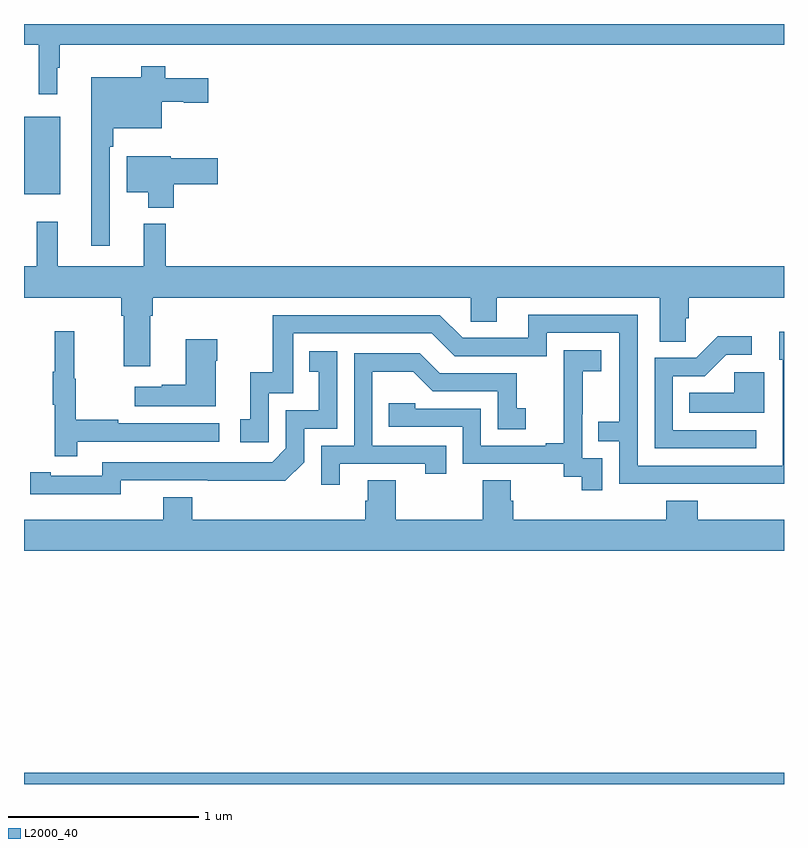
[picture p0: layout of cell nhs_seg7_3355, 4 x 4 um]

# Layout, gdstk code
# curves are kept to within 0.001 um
import gdstk
lib = gdstk.Library(unit=1e-6, precision=1e-09)
def R(c, l, rs):  # rectangles x0, y0, x1, y1
    for r in rs: c.add(gdstk.rectangle(r[:2], r[2:], *l))
def P(c, l, *ps):  # polygons
    for p in ps: c.add(gdstk.Polygon(p, *l))
L2000_40 = (2000, 40)

nhs_seg7_3355 = lib.new_cell('nhs_seg7_3355')
R(nhs_seg7_3355, L2000_40, [(323,1054,327,1054.06), (323,1057.103,323.191,1057.513)])
P(nhs_seg7_3355, L2000_40, [(323.176,1057.769),(323.188,1057.769),(323.188,1057.892),(327,1057.892),(327,1058),(323,1058),(323,1057.892),(323.078,1057.892),(323.078,1057.629),(323.176,1057.629)],
  [(323.451,1057.355),(323.471,1057.355),(323.471,1057.451),(323.725,1057.451),(323.725,1057.592),(323.84,1057.592),(323.84,1057.585),(323.971,1057.585),(323.971,1057.714),(323.744,1057.714),(323.744,1057.777),(323.616,1057.777),(323.616,1057.72),(323.354,1057.72),(323.354,1056.834),(323.451,1056.834)],
  [(323.789,1057.156),(324.019,1057.156),(324.019,1057.293),(323.772,1057.293),(323.772,1057.303),(323.54,1057.303),(323.54,1057.115),(323.654,1057.115),(323.654,1057.034),(323.789,1057.034)],
  [(323.665,1056.464),(323.678,1056.464),(323.678,1056.56),(325.35,1056.56),(325.35,1056.433),(325.489,1056.433),(325.489,1056.56),(326.345,1056.56),(326.345,1056.328),(326.484,1056.328),(326.484,1056.451),(326.498,1056.451),(326.498,1056.56),(327,1056.56),(327,1056.724),(323.747,1056.724),(323.747,1056.949),(323.63,1056.949),(323.63,1056.724),(323.177,1056.724),(323.177,1056.958),(323.067,1056.958),(323.067,1056.724),(323,1056.724),(323,1056.56),(323.513,1056.56),(323.513,1056.464),(323.525,1056.464),(323.525,1056.198),(323.665,1056.198)],
  [(327,1056.379),(326.975,1056.379),(326.975,1056.234),(326.994,1056.234),(326.993,1055.676),(326.229,1055.676),(326.229,1056.471),(325.655,1056.471),(325.655,1056.348),(325.308,1056.348),(325.188,1056.468),(324.309,1056.468),(324.309,1056.166),(324.191,1056.166),(324.191,1055.919),(324.138,1055.919),(324.138,1055.799),(324.288,1055.799),(324.288,1056.057),(324.417,1056.057),(324.417,1056.372),(325.146,1056.372),(325.266,1056.252),(325.752,1056.252),(325.752,1056.375),(326.133,1056.375),(326.133,1055.906),(326.023,1055.906),(326.023,1055.805),(326.133,1055.805),(326.133,1055.58),(327,1055.579)],
  [(323.279,1055.802),(324.028,1055.802),(324.028,1055.898),(323.495,1055.898),(323.495,1055.918),(323.272,1055.918),(323.272,1056.132),(323.264,1056.132),(323.264,1056.382),(323.162,1056.382),(323.162,1056.169),(323.151,1056.169),(323.151,1055.995),(323.162,1055.995),(323.162,1055.724),(323.279,1055.724)],
  [(326.854,1055.862),(326.415,1055.862),(326.415,1056.147),(326.584,1056.147),(326.695,1056.258),(326.83,1056.258),(326.83,1056.356),(326.651,1056.356),(326.538,1056.243),(326.319,1056.243),(326.319,1055.766),(326.854,1055.766)],
  [(324.01,1056.227),(324.018,1056.227),(324.018,1056.34),(323.852,1056.34),(323.852,1056.101),(323.726,1056.101),(323.726,1056.091),(323.583,1056.091),(323.583,1055.987),(324.01,1055.987)],
  [(326.043,1055.715),(325.938,1055.715),(325.938,1055.945),(325.94,1055.945),(325.94,1056.173),(326.038,1056.173),(326.038,1056.283),(325.84,1056.283),(325.84,1056.077),(325.841,1056.077),(325.841,1055.794),(325.745,1055.794),(325.745,1055.781),(325.404,1055.781),(325.404,1055.976),(325.059,1055.976),(325.059,1056.003),(324.919,1056.003),(324.919,1055.88),(325.308,1055.88),(325.308,1055.685),(325.842,1055.685),(325.842,1055.617),(325.935,1055.617),(325.935,1055.547),(326.043,1055.547)],
  [(323.508,1055.598),(324.376,1055.597),(324.474,1055.694),(324.474,1055.871),(324.648,1055.871),(324.648,1056.277),(324.502,1056.277),(324.502,1056.171),(324.551,1056.171),(324.551,1055.967),(324.378,1055.967),(324.378,1055.766),(324.306,1055.694),(323.412,1055.694),(323.412,1055.622),(323.14,1055.622),(323.14,1055.642),(323.032,1055.642),(323.032,1055.526),(323.508,1055.525)],
  [(324.661,1055.685),(325.112,1055.685),(325.112,1055.634),(325.223,1055.634),(325.223,1055.781),(324.834,1055.781),(324.834,1056.17),(325.048,1056.17),(325.152,1056.066),(325.494,1056.066),(325.494,1055.868),(325.642,1055.868),(325.642,1055.977),(325.593,1055.977),(325.593,1056.162),(325.189,1056.162),(325.084,1056.267),(324.738,1056.267),(324.738,1055.781),(324.564,1055.781),(324.564,1055.574),(324.661,1055.574)],
  [(326.896,1056.166),(326.739,1056.166),(326.739,1056.058),(326.5,1056.058),(326.5,1055.954),(326.896,1055.954)],
  [(327,1055.392),(326.546,1055.392),(326.546,1055.491),(326.381,1055.491),(326.381,1055.392),(325.574,1055.392),(325.574,1055.49),(325.561,1055.49),(325.561,1055.6),(325.414,1055.6),(325.414,1055.392),(324.957,1055.392),(324.957,1055.6),(324.809,1055.6),(324.809,1055.49),(324.797,1055.49),(324.797,1055.392),(323.885,1055.392),(323.885,1055.509),(323.732,1055.509),(323.732,1055.392),(323,1055.392),(323,1055.228),(327,1055.228)])

lib.write_gds('nhs_seg7_3355.gds')
